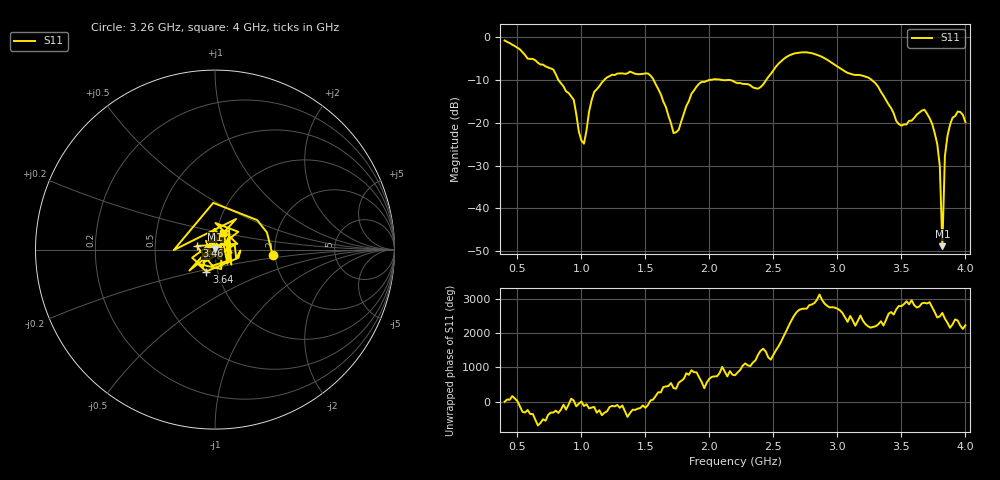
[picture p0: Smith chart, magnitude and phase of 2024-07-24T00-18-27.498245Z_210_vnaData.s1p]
!Created with skrf (http://scikit-rf.org).
# Hz S RI R 50.0
!freq ReS11 ImS11
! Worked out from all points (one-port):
!   181 points, 400 MHz to 4 GHz, reference 50 ohm
!   lowest |S11| = -48.8 dB at 3.82 GHz (marker M1), VSWR 1.01, Z = 50.2 + j0.322 ohm
!   |S11| at or under -10 dB: 819.5 MHz to 1.179 GHz (359.1 MHz wide, 35.9 % of centre); 1.564 GHz to 2.005 GHz (441.1 MHz wide, 24.7 % of centre); 3.267 GHz to end of sweep (the widest 3 of 4)
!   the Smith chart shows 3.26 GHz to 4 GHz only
!   S11 on the Smith chart (normalised r, x): 3.26 GHz: 1.94, -0.14; 3.46 GHz: 0.81, +0.03; 3.64 GHz: 0.88, -0.22; 4 GHz: 1.08, +0.20
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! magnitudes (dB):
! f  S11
! 400 MHz  -0.8
! 780 MHz  -7.6
! 860 MHz  -11.5
! 940 MHz  -14.6
! 980 MHz  -22.1
! 1.02 GHz  -24.9
! 1.1 GHz  -12.8
! 1.3 GHz  -8.5
! 1.54 GHz  -9.0
! 1.72 GHz  -22.4
! 1.76 GHz  -21.6
! 1.92 GHz  -10.9
! 2.2 GHz  -10.5
! 2.38 GHz  -12.1
! 2.66 GHz  -3.9
! 3.1 GHz  -8.5
! 3.26 GHz  -9.8
! 3.46 GHz  -19.6
! 3.56 GHz  -19.6
! 3.64 GHz  -17.6
! 3.7 GHz  -17.9
! 3.78 GHz  -25.0
! 3.8 GHz  -30.0
! 3.82 GHz  -48.8
! 3.84 GHz  -27.8
! 3.86 GHz  -23.1
! 3.94 GHz  -17.4
! 4 GHz  -19.8
